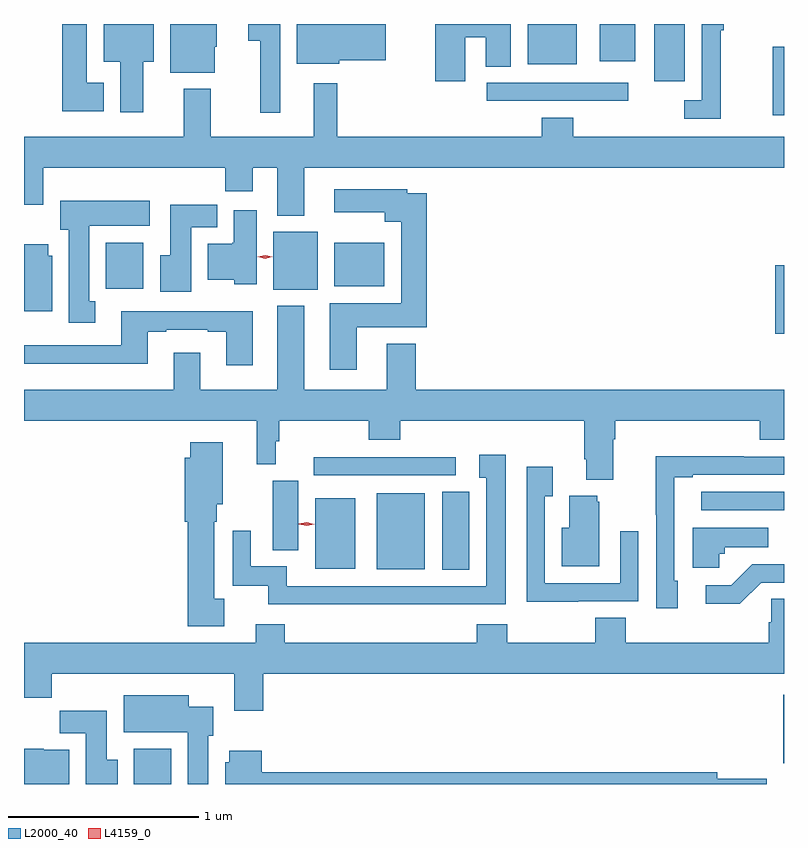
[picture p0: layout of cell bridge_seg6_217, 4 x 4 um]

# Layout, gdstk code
import gdstk
lib = gdstk.Library(unit=1e-6, precision=1e-09)
def R(c, l, rs):  # rectangles x0, y0, x1, y1
    for r in rs: c.add(gdstk.rectangle(r[:2], r[2:], *l))
def P(c, l, *ps):  # polygons
    for p in ps: c.add(gdstk.Polygon(p, *l))
L2000_40 = (2000, 40)
L4159_0 = (4159, 0)

bridge_seg6_217 = lib.new_cell('bridge_seg6_217')
R(bridge_seg6_217, L2000_40, [(214.127,936.101,214.324,936.286), (217.546,936.211,217.549,936.571), (215.75,937.228,215.893,937.64), (215.405,937.232,215.659,937.63), (215.081,937.235,215.293,937.606), (214.859,937.331,214.993,937.698), (217.113,937.542,217.549,937.638), (215.073,937.725,215.821,937.821), (217.502,938.47,217.549,938.83), (214.862,938.702,215.095,939.007), (213.98,938.708,214.177,938.95), (215.183,938.72,215.446,938.95), (217.49,939.621,217.549,939.982), (215.985,939.696,216.73,939.792), (216.866,939.801,217.027,940.101), (216.2,939.89,216.457,940.101), (216.578,939.905,216.766,940.101)])
P(bridge_seg6_217, L2000_40, [(214.897,940.101),(214.73,940.101),(214.73,940.013),(214.793,940.013),(214.793,939.633),(214.897,939.633)],
  [(214.552,939.981),(214.564,939.981),(214.564,940.101),(214.319,940.101),(214.319,939.845),(214.552,939.845)],
  [(215.872,940.031),(215.978,940.031),(215.978,939.877),(216.112,939.877),(216.112,940.101),(215.714,940.101),(215.714,939.801),(215.872,939.801)],
  [(214.177,939.902),(214.231,939.902),(214.231,940.101),(213.968,940.101),(213.968,939.902),(214.055,939.902),(214.055,939.636),(214.177,939.636)],
  [(215.208,939.911),(215.452,939.911),(215.452,940.101),(214.985,940.101),(214.985,939.893),(215.208,939.893)],
  [(217.217,940.068),(217.232,940.068),(217.232,940.101),(217.116,940.101),(217.116,939.699),(217.023,939.699),(217.023,939.603),(217.217,939.603)],
  [(213.97,939.793),(213.88,939.793),(213.88,940.101),(213.751,940.101),(213.751,939.641),(213.97,939.641)],
  [(215.023,939.344),(217.549,939.344),(217.549,939.508),(216.44,939.508),(216.44,939.607),(216.275,939.607),(216.275,939.508),(215.197,939.508),(215.197,939.79),(215.075,939.79),(215.075,939.508),(214.531,939.508),(214.531,939.76),(214.391,939.76),(214.391,939.508),(213.549,939.508),(213.549,939.15),(213.649,939.15),(213.649,939.344),(214.609,939.344),(214.609,939.22),(214.753,939.22),(214.753,939.344),(214.883,939.344),(214.883,939.092),(215.023,939.092)],
  [(215.299,938.504),(215.669,938.504),(215.669,939.211),(215.565,939.211),(215.565,939.232),(215.181,939.232),(215.181,939.11),(215.447,939.11),(215.447,939.059),(215.534,939.059),(215.534,938.632),(215.159,938.632),(215.159,938.28),(215.299,938.28)],
  [(213.925,938.642),(213.892,938.642),(213.892,939.038),(214.21,939.038),(214.21,939.172),(213.74,939.172),(213.74,939.018),(213.785,939.018),(213.785,938.529),(213.925,938.529)],
  [(214.429,939.032),(214.567,939.032),(214.567,939.15),(214.319,939.15),(214.319,938.884),(214.265,938.884),(214.265,938.691),(214.429,938.691)],
  [(214.774,939.121),(214.652,939.121),(214.652,938.95),(214.646,938.95),(214.646,938.944),(214.517,938.944),(214.517,938.756),(214.656,938.756),(214.656,938.732),(214.774,938.732)],
  [(213.697,938.88),(213.676,938.88),(213.676,938.941),(213.549,938.941),(213.549,938.588),(213.697,938.588)],
  [(215.459,938.176),(215.023,938.176),(215.023,938.617),(214.883,938.617),(214.883,938.176),(214.477,938.176),(214.477,938.371),(214.337,938.371),(214.337,938.176),(213.549,938.176),(213.549,938.012),(214.775,938.012),(214.775,937.783),(214.874,937.783),(214.874,937.904),(214.892,937.904),(214.892,938.012),(215.363,938.012),(215.363,937.913),(215.528,937.913),(215.528,938.012),(216.497,938.012),(216.497,937.81),(216.509,937.81),(216.509,937.703),(216.649,937.703),(216.649,937.916),(216.662,937.916),(216.662,938.012),(217.421,938.012),(217.421,937.913),(217.549,937.913),(217.549,938.176),(215.612,938.176),(215.612,938.419),(215.459,938.419)],
  [(214.753,938.59),(214.525,938.59),(214.525,938.589),(214.061,938.589),(214.061,938.409),(213.549,938.409),(213.549,938.312),(214.201,938.312),(214.201,938.481),(214.297,938.481),(214.297,938.493),(214.517,938.493),(214.517,938.481),(214.613,938.481),(214.613,938.304),(214.753,938.304)],
  [(214.603,937.077),(214.549,937.077),(214.549,937.482),(214.564,937.482),(214.564,937.574),(214.594,937.574),(214.594,937.9),(214.424,937.9),(214.424,937.818),(214.394,937.818),(214.394,937.482),(214.412,937.482),(214.412,936.932),(214.603,936.932)],
  [(216.085,937.834),(215.945,937.834),(215.945,937.713),(215.981,937.713),(215.981,937.143),(214.933,937.143),(214.933,937.246),(214.743,937.246),(214.743,937.435),(214.647,937.435),(214.647,937.284),(214.648,937.284),(214.648,937.144),(214.834,937.144),(214.834,937.046),(216.085,937.046)],
  [(216.991,937.17),(216.972,937.17),(216.972,937.716),(217.069,937.716),(217.069,937.728),(217.549,937.728),(217.549,937.824),(217.337,937.824),(217.337,937.826),(216.874,937.826),(216.874,937.519),(216.876,937.519),(216.876,937.026),(216.991,937.026)],
  [(216.467,937.062),(216.783,937.062),(216.783,937.432),(216.687,937.432),(216.687,937.158),(216.291,937.158),(216.291,937.615),(216.331,937.615),(216.331,937.771),(216.195,937.771),(216.195,937.061),(216.467,937.061)],
  [(216.577,937.587),(216.566,937.587),(216.566,937.618),(216.419,937.618),(216.419,937.45),(216.38,937.45),(216.38,937.247),(216.577,937.247)],
  [(217.209,937.314),(217.236,937.314),(217.236,937.346),(217.466,937.346),(217.466,937.45),(217.07,937.45),(217.07,937.238),(217.209,937.238)],
  [(217.428,937.161),(217.549,937.161),(217.549,937.257),(217.382,937.257),(217.271,937.146),(217.137,937.146),(217.137,937.049),(217.315,937.049)],
  [(214.808,936.68),(217.549,936.68),(217.549,937.076),(217.482,937.076),(217.482,936.953),(217.469,936.953),(217.469,936.844),(216.716,936.844),(216.716,936.977),(216.556,936.977),(216.556,936.844),(216.093,936.844),(216.093,936.943),(215.933,936.943),(215.933,936.844),(214.922,936.844),(214.922,936.943),(214.769,936.943),(214.769,936.844),(213.549,936.844),(213.549,936.556),(213.695,936.556),(213.695,936.68),(214.655,936.68),(214.655,936.486),(214.808,936.486)],
  [(214.519,936.354),(214.546,936.354),(214.546,936.508),(214.417,936.508),(214.417,936.568),(214.073,936.568),(214.073,936.374),(214.412,936.374),(214.412,936.101),(214.519,936.101)],
  [(214.042,936.228),(213.985,936.228),(213.985,936.486),(213.736,936.486),(213.736,936.368),(213.875,936.368),(213.875,936.101),(214.042,936.101)],
  [(213.787,936.28),(213.654,936.28),(213.654,936.286),(213.549,936.286),(213.549,936.101),(213.787,936.101)],
  [(217.459,936.128),(217.198,936.128),(217.198,936.164),(214.799,936.164),(214.799,936.277),(214.628,936.277),(214.628,936.216),(214.607,936.216),(214.607,936.101),(217.459,936.101)])
P(bridge_seg6_217, L4159_0, [(214.818,938.865),(214.779,938.875),(214.779,938.875),(214.779,938.875),(214.818,938.885),(214.856,938.875),(214.856,938.875),(214.856,938.875)],
  [(215.036,937.459),(214.995,937.469),(214.995,937.47),(214.995,937.47),(215.036,937.479),(215.077,937.468),(215.077,937.468),(215.077,937.468)])

lib.write_gds('bridge_seg6_217.gds')
